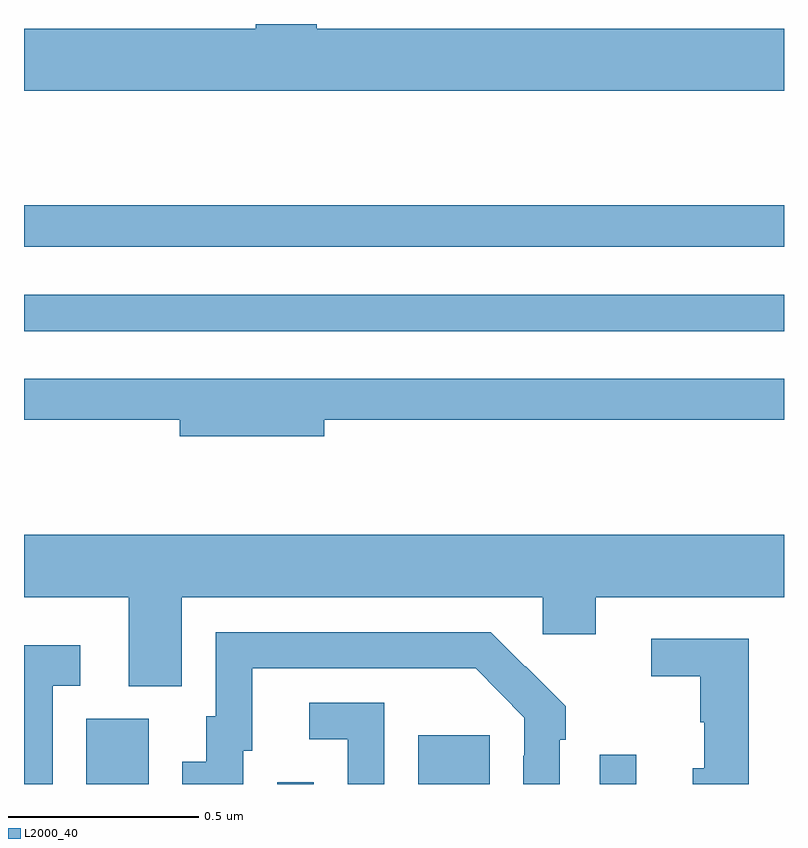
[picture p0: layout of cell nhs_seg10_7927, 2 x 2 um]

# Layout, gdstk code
import gdstk
lib = gdstk.Library(unit=1e-6, precision=1e-09)
def R(c, l, rs):  # rectangles x0, y0, x1, y1
    for r in rs: c.add(gdstk.rectangle(r[:2], r[2:], *l))
def P(c, l, *ps):  # polygons
    for p in ps: c.add(gdstk.Polygon(p, *l))
L2000_40 = (2000, 40)

nhs_seg10_7927 = lib.new_cell('nhs_seg10_7927')
R(nhs_seg10_7927, L2000_40, [(210.164,1290.5,210.328,1290.672), (210.666,1290.5,210.762,1290.505), (211.037,1290.5,211.225,1290.628), (211.515,1290.5,211.611,1290.577), (210,1291.692,212,1291.788), (210,1291.914,212,1292.023)])
P(nhs_seg10_7927, L2000_40, [(212,1292.488),(210.77,1292.488),(210.77,1292.5),(210.61,1292.5),(210.61,1292.488),(210,1292.488),(210,1292.324),(212,1292.324)],
  [(210.79,1291.458),(212,1291.458),(212,1291.566),(210,1291.566),(210,1291.458),(210.41,1291.458),(210.41,1291.415),(210.79,1291.415)],
  [(210.415,1290.992),(211.365,1290.992),(211.365,1290.894),(211.504,1290.894),(211.504,1290.992),(212,1290.992),(212,1291.156),(210,1291.156),(210,1290.992),(210.275,1290.992),(210.275,1290.757),(210.415,1290.757)],
  [(210.577,1290.588),(210.601,1290.588),(210.601,1290.804),(211.189,1290.804),(211.317,1290.675),(211.317,1290.575),(211.314,1290.575),(211.314,1290.5),(211.41,1290.5),(211.41,1290.617),(211.425,1290.617),(211.425,1290.705),(211.32,1290.81),(211.319,1290.809),(211.228,1290.9),(210.504,1290.9),(210.504,1290.678),(210.479,1290.678),(210.479,1290.559),(210.416,1290.559),(210.416,1290.5),(210.577,1290.5)],
  [(211.907,1290.882),(211.65,1290.882),(211.65,1290.784),(211.779,1290.784),(211.779,1290.663),(211.79,1290.663),(211.79,1290.541),(211.76,1290.541),(211.76,1290.5),(211.907,1290.5)],
  [(210.075,1290.759),(210.148,1290.759),(210.148,1290.865),(210,1290.865),(210,1290.5),(210.075,1290.5)],
  [(210.948,1290.714),(210.75,1290.714),(210.75,1290.618),(210.852,1290.618),(210.852,1290.5),(210.948,1290.5)])

lib.write_gds('nhs_seg10_7927.gds')
